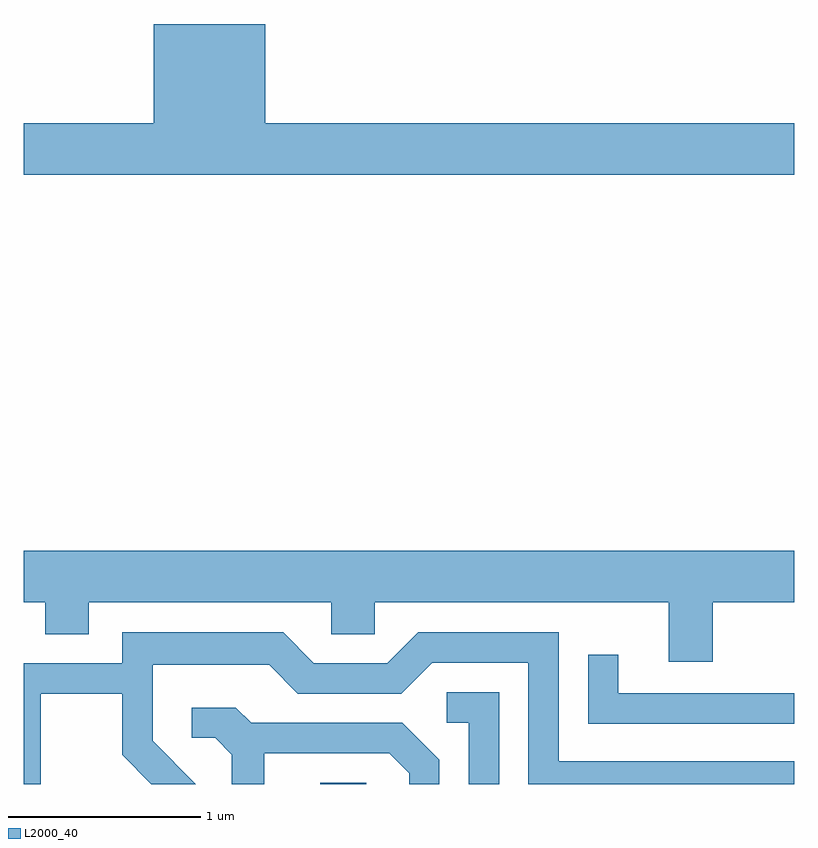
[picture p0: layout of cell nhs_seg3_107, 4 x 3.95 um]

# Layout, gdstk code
import gdstk
lib = gdstk.Library(unit=1e-6, precision=1e-09)
def R(c, l, rs):  # rectangles x0, y0, x1, y1
    for r in rs: c.add(gdstk.rectangle(r[:2], r[2:], *l))
def P(c, l, *ps):  # polygons
    for p in ps: c.add(gdstk.Polygon(p, *l))
L2000_40 = (2000, 40)

nhs_seg3_107 = lib.new_cell('nhs_seg3_107')
R(nhs_seg3_107, L2000_40, [(189.151,1193.892,189.389,1193.899)])
P(nhs_seg3_107, L2000_40, [(191.611,1197.324),(188.864,1197.324),(188.864,1197.839),(188.286,1197.839),(188.286,1197.324),(187.611,1197.324),(187.611,1197.056),(191.611,1197.056)],
  [(191.189,1194.836),(191.611,1194.836),(191.611,1195.104),(187.611,1195.104),(187.611,1194.836),(187.721,1194.836),(187.721,1194.671),(187.949,1194.671),(187.949,1194.836),(189.206,1194.836),(189.206,1194.671),(189.434,1194.671),(189.434,1194.836),(190.961,1194.836),(190.961,1194.526),(191.189,1194.526)],
  [(187.699,1194.361),(188.121,1194.361),(188.121,1194.044),(188.273,1193.892),(188.504,1193.892),(188.279,1194.117),(188.279,1194.511),(188.884,1194.511),(189.034,1194.361),(189.572,1194.361),(189.732,1194.521),(190.231,1194.521),(190.231,1193.892),(191.611,1193.892),(191.611,1194.009),(190.389,1194.009),(190.389,1194.679),(189.659,1194.679),(189.499,1194.519),(189.117,1194.519),(188.957,1194.679),(188.121,1194.679),(188.121,1194.519),(187.611,1194.519),(187.611,1193.892),(187.699,1193.892)],
  [(191.611,1194.364),(190.699,1194.364),(190.699,1194.563),(190.541,1194.563),(190.541,1194.206),(191.611,1194.206)],
  [(190.079,1194.369),(189.808,1194.369),(189.808,1194.211),(189.921,1194.211),(189.921,1193.892),(190.079,1193.892)],
  [(188.859,1194.051),(189.509,1194.051),(189.611,1193.949),(189.611,1193.892),(189.769,1193.892),(189.769,1194.017),(189.577,1194.209),(188.792,1194.209),(188.712,1194.289),(188.483,1194.289),(188.483,1194.131),(188.604,1194.131),(188.691,1194.044),(188.691,1193.892),(188.859,1193.892)])

lib.write_gds('nhs_seg3_107.gds')
